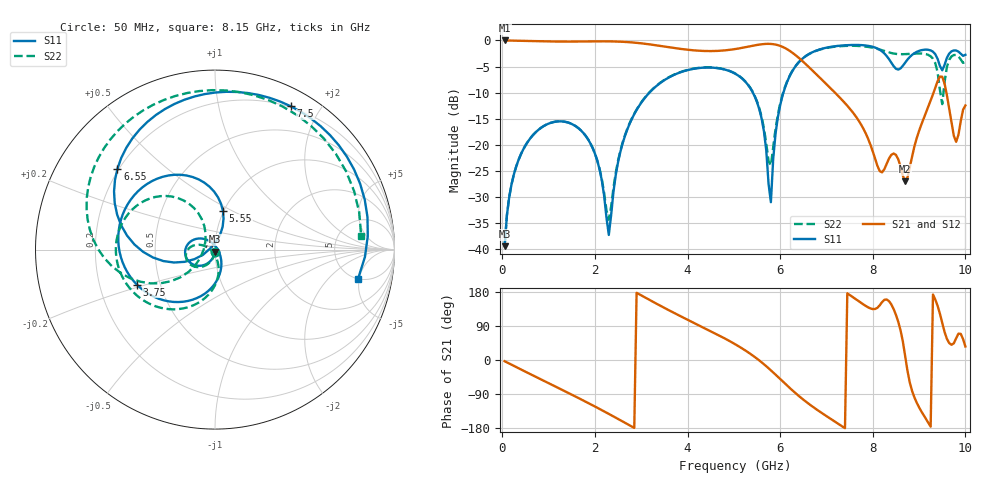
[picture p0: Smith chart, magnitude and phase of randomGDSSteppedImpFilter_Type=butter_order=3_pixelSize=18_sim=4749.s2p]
! freq	dB(S11)	phase(S11)	dB(S12)	phase(S12)
!  dB(S21)	phase(S21)	dB(S22)	phase(S22)
!S-par simulation data
#  GHz  S  DB  R 50
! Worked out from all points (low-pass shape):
!   200 points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, 50 MHz to 10 GHz, reference 50 ohm
!   highest |S21| = -0.01 dB at 50 MHz (marker M1); lowest = -27.0 dB at 8.7 GHz (marker M2)
!   |S21| within 3 dB of the highest: start of sweep to 6.358 GHz
!   lowest |S11| = -39.4 dB at 50 MHz (marker M3), VSWR 1.02, Z = 50 - j1.07 ohm
!   |S11| at or under -10 dB: start of sweep to 3.178 GHz; 5.41 GHz to 6.071 GHz (660.8 MHz wide, 11.5 % of centre)
!   |S22| runs from -39.4 to -1.0 dB; largest |S21 - S12| = 0
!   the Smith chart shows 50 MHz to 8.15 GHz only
!   S11 on the Smith chart (normalised r, x): 50 MHz: 1.00, -0.02; 3.75 GHz: 0.37, -0.19; 5.55 GHz: 0.99, +0.45; 6.55 GHz: 0.19, +0.35; 7.5 GHz: 0.19, +1.64; 8.15 GHz: 5.02, -4.81
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0.05  -39.42 -91.1  -0.01 -3.2  -0.01 -3.2  -39.40 -90.8
0.55  -19.43 -126.0  -0.10 -33.9  -0.10 -33.9  -19.42 -122.4
1.75  -17.73 154.7  -0.20 -106.9  -0.20 -106.9  -17.72 171.6
2.3  -37.27 31.7  -0.18 -142.2  -0.18 -142.2  -34.35 -135.9
2.65  -18.27 -75.1  -0.28 -165.7  -0.28 -165.7  -18.13 -80.6
3.4  -8.22 -132.1  -1.03 144.0  -1.03 144.0  -8.18 -121.8
3.75  -6.43 -155.8  -1.50 121.7  -1.50 121.7  -6.39 -141.9
5.05  -6.48 118.5  -1.62 40.1  -1.62 40.1  -6.44 145.0
5.55  -13.19 78.3  -0.80 -1.3  -0.80 -1.3  -13.00 114.6
5.8  -31.00 169.0  -0.67 -27.2  -0.67 -27.2  -23.94 -178.8
6  -12.42 -162.5  -1.05 -50.1  -1.05 -50.1  -12.13 -141.3
6.55  -3.02 140.3  -4.52 -109.3  -4.52 -109.3  -3.02 170.9
6.7  -2.25 126.5  -5.79 -123.0  -5.79 -123.0  -2.26 157.9
7.5  -0.88 62.2  -13.03 171.8  -13.03 171.8  -1.03 90.9
8.15  -1.79 -11.5  -25.03 144.4  -25.03 144.4  -1.75 5.5
8.35  -3.58 -60.8  -22.63 155.4  -22.63 155.4  -2.30 -35.1
8.7  -4.24 144.3  -27.00 10.6  -27.00 10.6  -2.63 -114.7
8.95  -2.19 83.1  -18.69 -112.9  -18.69 -112.9  -2.51 -163.1
9.25  -1.91 42.2  -11.55 -175.9  -11.55 -175.9  -3.04 148.5
9.5  -5.72 34.3  -6.96 97.6  -6.96 97.6  -12.21 153.0
9.8  -1.93 22.5  -19.43 57.3  -19.43 57.3  -2.79 134.1
10  -2.75 20.0  -12.47 35.6  -12.47 35.6  -4.13 129.0
